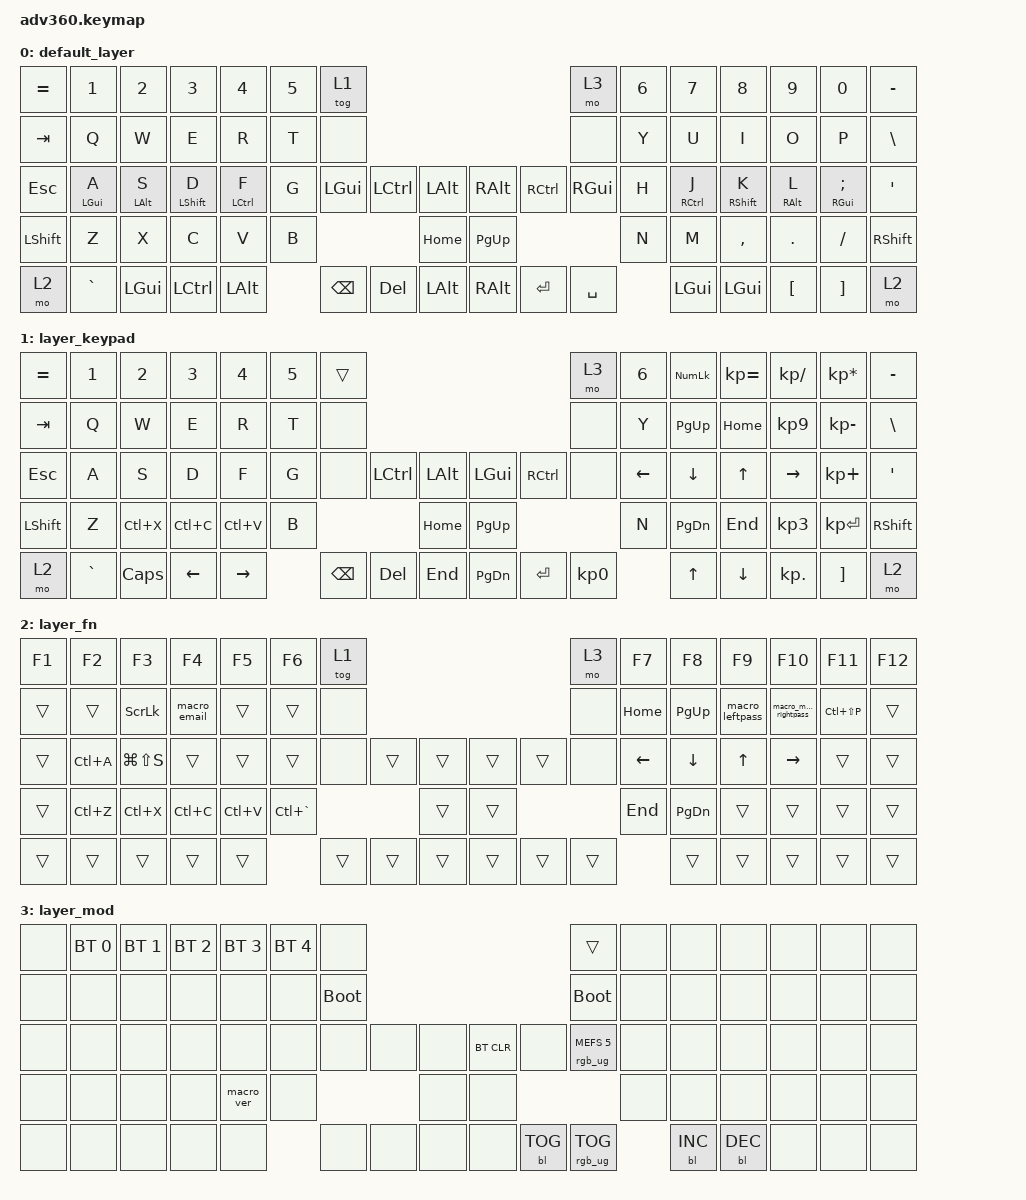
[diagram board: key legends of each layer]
/*
 * Copyright (c) 2020 The ZMK Contributors
 *
 * SPDX-License-Identifier: MIT
 */
/* THIS FILE WAS GENERATED!
 *
 * This file was generated automatically. You may or may not want to
 * edit it directly.
 */

#include <behaviors.dtsi>
#include <dt-bindings/zmk/backlight.h>
#include <dt-bindings/zmk/bt.h>
#include <dt-bindings/zmk/keys.h>
#include <dt-bindings/zmk/rgb.h>

/ {
    behaviors {
        #include "macros.dtsi"
    #include "version.dtsi"

        hm: homerow_mods {
            compatible = "zmk,behavior-hold-tap";
            label = "HOMEROW_MODS";
            #binding-cells = <2>;
            tapping-term-ms = <200>;
            quick_tap_ms = <175>;
            flavor = "balanced";
            bindings = <&kp>, <&kp>;
        };
    };

    keymap {
        compatible = "zmk,keymap";

        default_layer {
            bindings = <
&kp EQUAL  &kp N1      &kp N2      &kp N3       &kp N4       &kp N5  &tog 1                                                   &mo 3      &kp N6  &kp N7       &kp N8       &kp N9      &kp N0         &kp MINUS
&kp TAB    &kp Q       &kp W       &kp E        &kp R        &kp T   &none                                                    &none      &kp Y   &kp U        &kp I        &kp O       &kp P          &kp BSLH
&kp ESC    &hm LGUI A  &hm LALT S  &hm LSHFT D  &hm LCTRL F  &kp G   &kp LGUI  &kp LCTRL  &kp LALT      &kp RALT   &kp RCTRL  &kp RGUI   &kp H   &hm RCTRL J  &hm RSHFT K  &hm RALT L  &hm RGUI SEMI  &kp SQT
&kp LSHFT  &kp Z       &kp X       &kp C        &kp V        &kp B                        &kp HOME      &kp PG_UP                        &kp N   &kp M        &kp COMMA    &kp DOT     &kp FSLH       &kp RSHFT
&mo 2      &kp GRAVE   &kp LGUI    &kp LCTRL    &kp LALT             &kp BSPC  &kp DEL    &kp LALT      &kp RALT   &kp ENTER  &kp SPACE          &kp LGUI     &kp LGUI     &kp LBKT    &kp RBKT       &mo 2
            >;
        };

        layer_keypad {
            bindings = <
&kp EQUAL  &kp N1     &kp N2     &kp N3     &kp N4     &kp N5  &trans                                                   &mo 3      &kp N6    &kp KP_NUM     &kp KP_EQUAL  &kp KP_DIVIDE  &kp KP_MULTIPLY  &kp MINUS
&kp TAB    &kp Q      &kp W      &kp E      &kp R      &kp T   &none                                                    &none      &kp Y     &kp PAGE_UP    &kp HOME      &kp KP_N9      &kp KP_MINUS     &kp BSLH
&kp ESC    &kp A      &kp S      &kp D      &kp F      &kp G   &none     &kp LCTRL  &kp LALT      &kp LGUI   &kp RCTRL  &none      &kp LEFT  &kp DOWN       &kp UP        &kp RIGHT      &kp KP_PLUS      &kp SQT
&kp LSHFT  &kp Z      &kp LC(X)  &kp LC(C)  &kp LC(V)  &kp B                        &kp HOME      &kp PG_UP                        &kp N     &kp PAGE_DOWN  &kp END       &kp KP_N3      &kp KP_ENTER     &kp RSHFT
&mo 2      &kp GRAVE  &kp CAPS   &kp LEFT   &kp RIGHT          &kp BSPC  &kp DEL    &kp END       &kp PG_DN  &kp ENTER  &kp KP_N0            &kp UP         &kp DOWN      &kp KP_DOT     &kp RBKT         &mo 2
            >;
        };

        layer_fn {
            bindings = <
&kp F1  &kp F2     &kp F3          &kp F4        &kp F5     &kp F6         &tog 1                                      &mo 3   &kp F7    &kp F8         &kp F9           &kp F10                 &kp F11        &kp F12
&trans  &trans     &kp SCROLLLOCK  &macro_email  &trans     &trans         &none                                       &none   &kp HOME  &kp PAGE_UP    &macro_leftpass  &macro_macro_rightpass  &kp LC(LS(P))  &trans
&trans  &kp LC(A)  &kp LG(LS(S))   &trans        &trans     &trans         &none   &trans  &trans      &trans  &trans  &none   &kp LEFT  &kp DOWN       &kp UP           &kp RIGHT               &trans         &trans
&trans  &kp LC(Z)  &kp LC(X)       &kp LC(C)     &kp LC(V)  &kp LC(GRAVE)                  &trans      &trans                  &kp END   &kp PAGE_DOWN  &trans           &trans                  &trans         &trans
&trans  &trans     &trans          &trans        &trans                    &trans  &trans  &trans      &trans  &trans  &trans            &trans         &trans           &trans                  &trans         &trans
            >;
        };

        layer_mod {
            bindings = <
&none  &bt BT_SEL 0  &bt BT_SEL 1  &bt BT_SEL 2  &bt BT_SEL 3  &bt BT_SEL 4  &none                                                  &trans                  &none  &none       &none       &none  &none  &none
&none  &none         &none         &none         &none         &none         &bootloader                                            &bootloader             &none  &none       &none       &none  &none  &none
&none  &none         &none         &none         &none         &none         &none        &none  &none      &bt BT_CLR  &none       &rgb_ug RGB_MEFS_CMD 5  &none  &none       &none       &none  &none  &none
&none  &none         &none         &none         &macro_ver    &none                             &none      &none                                           &none  &none       &none       &none  &none  &none
&none  &none         &none         &none         &none                       &none        &none  &none      &none       &bl BL_TOG  &rgb_ug RGB_TOG                &bl BL_INC  &bl BL_DEC  &none  &none  &none
            >;
        };
    };
};
